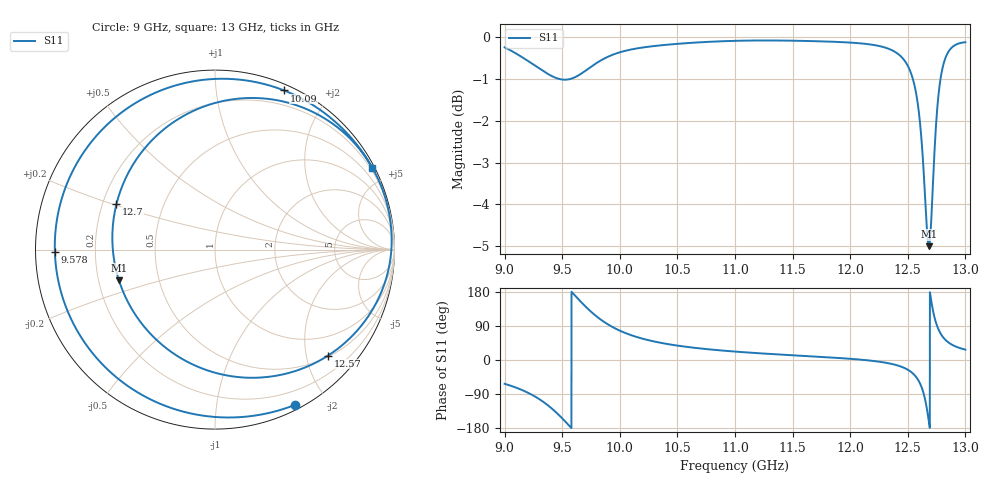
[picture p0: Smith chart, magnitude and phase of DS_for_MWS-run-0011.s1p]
! TOUCHSTONE file generated by CST DESIGN STUDIO
! Date and time: Tue Feb  4 15:51:19 2025
! Project name: C:\Work\MatlabApps\UnitCellOptimizationMatlab\CST\unitcell.cst
! Tree item: Tasks\Sweep1\SPara1\S-Parameters
! Header version: 2024
! Port assignment regex: !\s*Touchstone port\s*([0-9]+)\s*=\s*(CST MWS port|CST DES external port|CST DES block port)\s*(.+)\s* \(\"(.*)\"\)(\s*mode\s*([0-9]+))?.*
! Touchstone port assignment:
! Touchstone port 1 = CST DES external port 1 ("")
# GHz S MA R 50
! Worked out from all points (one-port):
!   4001 points, 9 GHz to 13 GHz, reference 50 ohm
!   lowest |S11| = -5.0 dB at 12.68 GHz (marker M1), VSWR 3.57, Z = 14.3 - j7.12 ohm
!   |S11| at or under -10 dB: nowhere
!   S11 on the Smith chart (normalised r, x): 9 GHz: 0.05, -1.64; 9.578 GHz: 0.06, -0.01; 10.09 GHz: 0.06, +1.52; 12.57 GHz: 0.52, -2.43; 12.7 GHz: 0.26, +0.21; 13 GHz: 0.12, +4.09
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9  0.973 -62.8
9.153  0.9467 -79.4
9.304  0.9172 -103.9
9.405  0.8994 -126.8
9.5  0.8902 -153.9
9.578  0.8922 -179.1
9.665  0.9048 152.6
9.778  0.9278 120.1
9.876  0.945 98.0
10  0.9597 77.4
10.089  0.9666 66.5
10.5  0.9824 38.0
11  0.9906 22.2
11.5  0.991 12.5
12  0.9859 3.2
12.315  0.9712 -7.6
12.5  0.9246 -25.7
12.568  0.8631 -43.2
12.604  0.7952 -60.5
12.637  0.693 -87.9
12.66  0.6073 -118.9
12.683  0.5619 -162.4
12.704  0.6049 155.2
12.736  0.7484 107.6
12.77  0.862 78.3
12.808  0.9269 59.5
12.854  0.9619 46.1
13  0.9868 27.4
